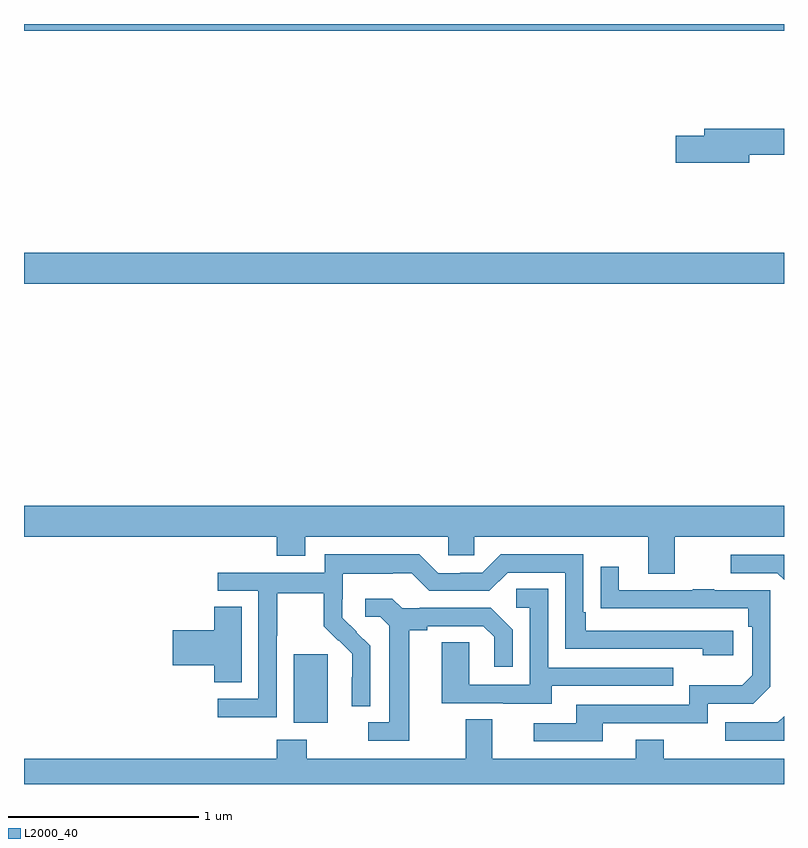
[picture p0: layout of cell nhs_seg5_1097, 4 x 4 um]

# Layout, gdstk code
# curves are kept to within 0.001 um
import gdstk
lib = gdstk.Library(unit=1e-6, precision=1e-09)
def R(c, l, rs):  # rectangles x0, y0, x1, y1
    for r in rs: c.add(gdstk.rectangle(r[:2], r[2:], *l))
def P(c, l, *ps):  # polygons
    for p in ps: c.add(gdstk.Polygon(p, *l))
L2000_40 = (2000, 40)

nhs_seg5_1097 = lib.new_cell('nhs_seg5_1097')
R(nhs_seg5_1097, L2000_40, [(180.419,849.122,180.598,849.483), (179,851.432,183,851.596), (179,852.764,183,852.799)])
P(nhs_seg5_1097, L2000_40, [(182.818,852.112),(183,852.112),(183,852.248),(182.579,852.248),(182.579,852.212),(182.43,852.212),(182.43,852.07),(182.818,852.07)],
  [(182.425,850.1),(183,850.1),(183,850.264),(179,850.264),(179,850.1),(180.329,850.1),(180.329,850.001),(180.481,850.001),(180.481,850.1),(181.233,850.1),(181.233,850.002),(181.371,850.002),(181.371,850.1),(182.285,850.1),(182.285,849.906),(182.425,849.906)],
  [(180.33,849.58),(180.333,849.58),(180.333,849.804),(180.577,849.804),(180.577,849.629),(180.654,849.552),(180.657,849.555),(180.728,849.485),(180.728,849.362),(180.726,849.362),(180.726,849.208),(180.822,849.208),(180.822,849.526),(180.676,849.674),(180.676,849.771),(180.678,849.771),(180.678,849.905),(180.941,849.905),(180.941,849.909),(181.041,849.909),(181.134,849.816),(181.449,849.816),(181.545,849.912),(181.848,849.912),(181.848,849.51),(182.573,849.51),(182.573,849.476),(182.734,849.476),(182.734,849.606),(181.957,849.606),(181.957,849.703),(181.944,849.703),(181.944,850.008),(181.509,850.008),(181.413,849.912),(181.295,849.912),(181.295,849.909),(181.179,849.909),(181.079,850.009),(180.582,850.009),(180.582,849.912),(180.021,849.912),(180.021,849.816),(180.234,849.816),(180.234,849.249),(180.021,849.249),(180.021,849.151),(180.33,849.151)],
  [(183,850.005),(182.721,850.005),(182.721,849.909),(182.964,849.909),(183,849.873)],
  [(182.047,849.12),(182.598,849.12),(182.598,849.222),(182.838,849.222),(182.928,849.312),(182.928,849.819),(182.633,849.819),(182.633,849.824),(182.521,849.824),(182.521,849.819),(182.131,849.819),(182.131,849.943),(182.035,849.943),(182.035,849.724),(182.812,849.723),(182.812,849.626),(182.832,849.626),(182.832,849.372),(182.779,849.319),(182.502,849.319),(182.502,849.216),(181.907,849.216),(181.907,849.12),(181.683,849.12),(181.683,849.024),(182.047,849.024)],
  [(181.777,849.315),(182.417,849.315),(182.417,849.411),(181.758,849.411),(181.758,849.827),(181.59,849.827),(181.59,849.726),(181.662,849.726),(181.662,849.321),(181.344,849.321),(181.344,849.545),(181.199,849.545),(181.199,849.225),(181.523,849.225),(181.523,849.221),(181.777,849.221)],
  [(181.027,849.608),(181.123,849.608),(181.123,849.63),(181.418,849.63),(181.475,849.573),(181.475,849.417),(181.572,849.417),(181.572,849.61),(181.456,849.726),(181.084,849.726),(181.084,849.723),(180.99,849.723),(180.938,849.775),(180.795,849.775),(180.795,849.678),(180.876,849.678),(180.923,849.631),(180.923,849.123),(180.813,849.123),(180.813,849.027),(181.027,849.027)],
  [(180.145,849.731),(180.002,849.731),(180.002,849.608),(179.784,849.608),(179.784,849.425),(180.002,849.425),(180.002,849.334),(180.145,849.334)],
  [(183,849.156),(182.967,849.123),(182.691,849.123),(182.691,849.027),(183,849.027)],
  [(183,848.932),(182.367,848.932),(182.367,849.031),(182.219,849.031),(182.219,848.932),(181.465,848.932),(181.465,849.14),(181.325,849.14),(181.325,848.932),(180.489,848.932),(180.489,849.031),(180.329,849.031),(180.329,848.932),(179,848.932),(179,848.799),(183,848.799)])

lib.write_gds('nhs_seg5_1097.gds')
